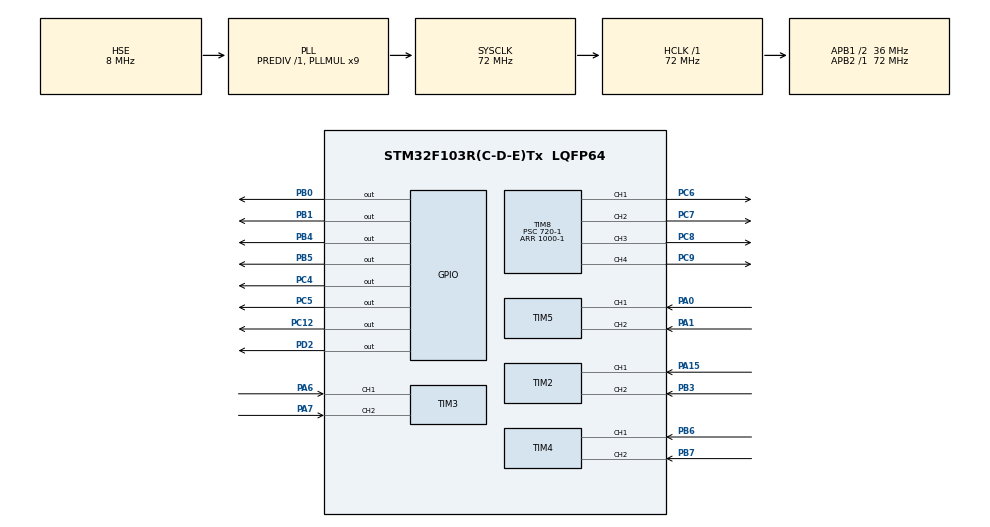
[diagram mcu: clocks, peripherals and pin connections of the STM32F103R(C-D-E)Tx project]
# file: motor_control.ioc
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Mcu.Family=STM32F1
Mcu.Name=STM32F103R(C-D-E)Tx
Mcu.Package=LQFP64
NVIC.PriorityGroup=NVIC_PRIORITYGROUP_4
NVIC.TIM2_IRQn=true\:0\:0\:false\:false\:true\:true\:true\:true
NVIC.TIM3_IRQn=true\:0\:0\:false\:false\:true\:true\:true\:true
NVIC.TIM4_IRQn=true\:0\:0\:false\:false\:true\:true\:true\:true
NVIC.TIM5_IRQn=true\:0\:0\:false\:false\:true\:true\:true\:true
NVIC.TIM6_IRQn=true\:0\:0\:false\:false\:true\:true\:true\:true
PA0-WKUP.Signal=S_TIM5_CH1
PA1.Signal=S_TIM5_CH2
PA13.Mode=Serial_Wire
PA13.Signal=SYS_JTMS-SWDIO
PA14.Mode=Serial_Wire
PA14.Signal=SYS_JTCK-SWCLK
PA15.Signal=S_TIM2_CH1_ETR
PA6.Signal=S_TIM3_CH1
PA7.Signal=S_TIM3_CH2
PB0.Signal=GPIO_Output
PB1.Signal=GPIO_Output
PB3.Signal=S_TIM2_CH2
PB4.Signal=GPIO_Output
PB5.Signal=GPIO_Output
PB6.Signal=S_TIM4_CH1
PB7.Signal=S_TIM4_CH2
PC12.Signal=GPIO_Output
PC4.Signal=GPIO_Output
PC5.Signal=GPIO_Output
PC6.Signal=S_TIM8_CH1
PC7.Signal=S_TIM8_CH2
PC8.Signal=S_TIM8_CH3
PC9.Signal=S_TIM8_CH4
PD0-OSC_IN.Mode=HSE-External-Oscillator
PD0-OSC_IN.Signal=RCC_OSC_IN
PD1-OSC_OUT.Mode=HSE-External-Oscillator
PD1-OSC_OUT.Signal=RCC_OSC_OUT
PD2.Signal=GPIO_Output
ProjectManager.HeapSize=0x200
ProjectManager.StackSize=0x400
ProjectManager.TargetToolchain=STM32CubeIDE
RCC.AHBFreq_Value=72000000
RCC.APB1CLKDivider=RCC_HCLK_DIV2
RCC.APB1Freq_Value=36000000
RCC.APB1TimFreq_Value=72000000
RCC.APB2Freq_Value=72000000
RCC.APB2TimFreq_Value=72000000
RCC.HCLKFreq_Value=72000000
RCC.PLLMUL=RCC_PLL_MUL9
RCC.PLLSourceVirtual=RCC_PLLSOURCE_HSE
RCC.SYSCLKFreq_VALUE=72000000
RCC.SYSCLKSource=RCC_SYSCLKSOURCE_PLLCLK
RCC.USBFreq_Value=72000000
SH.S_TIM2_CH1_ETR.0=TIM2_CH1,Encoder_Interface
SH.S_TIM2_CH2.0=TIM2_CH2,Encoder_Interface
SH.S_TIM3_CH1.0=TIM3_CH1,Encoder_Interface
SH.S_TIM3_CH2.0=TIM3_CH2,Encoder_Interface
SH.S_TIM4_CH1.0=TIM4_CH1,Encoder_Interface
SH.S_TIM4_CH2.0=TIM4_CH2,Encoder_Interface
SH.S_TIM5_CH1.0=TIM5_CH1,Encoder_Interface
SH.S_TIM5_CH2.0=TIM5_CH2,Encoder_Interface
SH.S_TIM8_CH1.0=TIM8_CH1,PWM Generation1 CH1
SH.S_TIM8_CH2.0=TIM8_CH2,PWM Generation2 CH2
SH.S_TIM8_CH3.0=TIM8_CH3,PWM Generation3 CH3
SH.S_TIM8_CH4.0=TIM8_CH4,PWM Generation4 CH4
TIM2.EncoderMode=TIM_ENCODERMODE_TI12
TIM3.EncoderMode=TIM_ENCODERMODE_TI12
TIM4.EncoderMode=TIM_ENCODERMODE_TI12
TIM5.EncoderMode=TIM_ENCODERMODE_TI12
TIM6.Period=500-1
TIM6.Prescaler=720-1
TIM8.Channel-PWM\ Generation1\ CH1=TIM_CHANNEL_1
TIM8.Channel-PWM\ Generation2\ CH2=TIM_CHANNEL_2
TIM8.Channel-PWM\ Generation3\ CH3=TIM_CHANNEL_3
TIM8.Channel-PWM\ Generation4\ CH4=TIM_CHANNEL_4
TIM8.Period=1000-1
TIM8.Prescaler=720-1
VP_TIM6_VS_ClockSourceINT.Mode=Enable_Timer
VP_TIM8_VS_ClockSourceINT.Mode=Internal
board=custom

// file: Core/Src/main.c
/* USER CODE BEGIN Header */
/**
  ******************************************************************************
  * @file           : main.c
  * @brief          : Main program body
  ******************************************************************************
  * @attention
  *
  * Copyright (c) 2023 STMicroelectronics.
  * All rights reserved.
  *
  * This software is licensed under terms that can be found in the LICENSE file
  * in the root directory of this software component.
  * If no LICENSE file comes with this software, it is provided AS-IS.
  *
  ******************************************************************************
  */
/* USER CODE END Header */
#include "main.h"
#include "tim.h"
#include "gpio.h"

/* USER CODE BEGIN Includes */
#include "stdio.h"
#include "stdlib.h"
#include "motor_encoder.h"
#include <math.h>
/* USER CODE END Includes */

/* USER CODE BEGIN PV */
encoder_instance enc_instanceA;
/* USER CODE END PV */

void SystemClock_Config(void);

/* USER CODE BEGIN 0 */

float_t encoder_velocityA;
float_t encoder_positionA;

uint16_t counterA = 0;
uint16_t counterB = 0;
uint16_t counterC = 0;
uint16_t counterD = 0;
uint16_t directionA = 0;
uint16_t directionB = 0;
uint16_t directionC = 0;
uint16_t directionD = 0;

//void HAL_TIM_PeriodElapsedCallback(TIM_HandleTypeDef *htim)
//{
//	counter = __HAL_TIM_GET_COUNTER(&htim4);
//
//	update_encoder(&enc_instance, &htim4);
//	encoder_position = enc_instance.position;
//	encoder_velocity = enc_instance.velocity;
//}

//void HAL_TIM_PeriodElapsedCallback(TIM_HandleTypeDef *htim)
//{
//	if (htim->Instance == TIM6){
//		counterC = __HAL_TIM_GET_COUNTER(&htim4);
//		//countC = (short)counterC;
//		update_encoder(&enc_instance, &htim4);
//		encoder_position = enc_instance.position;
//		encoder_velocity = enc_instance.velocity;
//	}
//}

void HAL_TIM_PeriodElapsedCallback(TIM_HandleTypeDef *htim)
{

	if (htim->Instance == TIM6){

		counterA = __HAL_TIM_GET_COUNTER(&htim2);
		counterB = __HAL_TIM_GET_COUNTER(&htim3);
		counterC = __HAL_TIM_GET_COUNTER(&htim4);
		counterD = __HAL_TIM_GET_COUNTER(&htim5);

		directionA = __HAL_TIM_IS_TIM_COUNTING_DOWN(&htim2);
		directionB = __HAL_TIM_IS_TIM_COUNTING_DOWN(&htim3);
		directionC = __HAL_TIM_IS_TIM_COUNTING_DOWN(&htim4);
		directionD = __HAL_TIM_IS_TIM_COUNTING_DOWN(&htim5);

		update_encoder(&enc_instanceA, &htim2);
		encoder_positionA = enc_instanceA.position;
		encoder_velocityA = enc_instanceA.velocity;
	}
}

//void HAL_TIM_IC_CaptureCallback
//void HAL_TIM_PeriodElapsedCallback
/* USER CODE END 0 */

int main(void)
{

  /* MCU Configuration--------------------------------------------------------*/

  /* Reset of all peripherals, Initializes the Flash interface and the Systick. */
  HAL_Init();

  /* Configure the system clock */
  SystemClock_Config();

  /* Initialize all configured peripherals */
  MX_GPIO_Init();
  MX_TIM2_Init();
  MX_TIM3_Init();
  MX_TIM4_Init();
  MX_TIM5_Init();
  MX_TIM8_Init();
  MX_TIM6_Init();
  /* USER CODE BEGIN 2 */
  HAL_TIM_Encoder_Start_IT(&htim2, TIM_CHANNEL_ALL);
  HAL_TIM_Encoder_Start_IT(&htim3, TIM_CHANNEL_ALL);
  HAL_TIM_Encoder_Start_IT(&htim4, TIM_CHANNEL_ALL);
  HAL_TIM_Encoder_Start_IT(&htim5, TIM_CHANNEL_ALL);

  HAL_TIM_PWM_Start(&htim8, TIM_CHANNEL_1);  // start the pwm md
  HAL_TIM_PWM_Start(&htim8, TIM_CHANNEL_2);  // start the pwm mc
  HAL_TIM_PWM_Start(&htim8, TIM_CHANNEL_3);  // start the pwm mb
  HAL_TIM_PWM_Start(&htim8, TIM_CHANNEL_4);  // start the pwm ma

  HAL_TIM_Base_Start_IT(&htim6);
  //HAL_TIM_PWM_Start(&htim8, TIM_CHANNEL_1);  // start the pwm1
  /* USER CODE END 2 */

  /* Infinite loop */
  /* USER CODE BEGIN WHILE */

  float_t fre[500];
  // uint16_t period[500];
  float_t len = 500.0;
  float_t fre_max = 500.0;
  float_t fre_min = 0.0;
  float_t flexible = 4;

  float_t deno;
  float_t melo;
  float_t delt = fre_max - fre_min;

  float_t timer_freq = 1000000.0;

  while (1)
  {
	  	// MD - 방향
	  	HAL_GPIO_WritePin(GPIOB, GPIO_PIN_0, 1);
	  	HAL_GPIO_WritePin(GPIOB, GPIO_PIN_1, 0);
	  	// MC + 방향
	  	HAL_GPIO_WritePin(GPIOC, GPIO_PIN_5, 0);
	  	HAL_GPIO_WritePin(GPIOC, GPIO_PIN_4, 1);
	  	// MB - 방향
	  	HAL_GPIO_WritePin(GPIOB, GPIO_PIN_4, 1);
	  	HAL_GPIO_WritePin(GPIOB, GPIO_PIN_5, 0);
	  	// MA + 방향
	  	HAL_GPIO_WritePin(GPIOD, GPIO_PIN_2, 0);
	  	HAL_GPIO_WritePin(GPIOC, GPIO_PIN_12, 1);

	  	for(int i=0; i<len; i++)
	  	{
	  		melo = flexible * (i - len/2) / (len/2);
	  		deno = 1.0 / (1+expf(-melo));
	  		fre[i] = delt * deno + fre_min;
	  		// period[i] = (uint16_t)(timer_freq/fre[i]);

//	  		__HAL_TIM_SET_COMPARE(&htim8, TIM_CHANNEL_1, (int)fre[i]);
//	  		__HAL_TIM_SET_COMPARE(&htim8, TIM_CHANNEL_2, (int)fre[i]);
//	  		__HAL_TIM_SET_COMPARE(&htim8, TIM_CHANNEL_3, (int)fre[i]);
	  		__HAL_TIM_SET_COMPARE(&htim8, TIM_CHANNEL_4, (int)fre[i]);
	  		HAL_Delay(1);
	  	}

	  	HAL_Delay(1000-1);

	  	for(int i=len-1; i>=0; i--)
	  	{
//	  		__HAL_TIM_SET_COMPARE(&htim8, TIM_CHANNEL_1, (int)fre[i]);
//	  		__HAL_TIM_SET_COMPARE(&htim8, TIM_CHANNEL_2, (int)fre[i]);
//	  		__HAL_TIM_SET_COMPARE(&htim8, TIM_CHANNEL_3, (int)fre[i]);
	  		__HAL_TIM_SET_COMPARE(&htim8, TIM_CHANNEL_4, (int)fre[i]);
	  		HAL_Delay(1);
	  	}

	  	HAL_Delay(1000-1);

//		__HAL_TIM_SET_COMPARE(&htim8, TIM_CHANNEL_4, 200);
    /* USER CODE END WHILE */

  }
}

void SystemClock_Config(void)
{
  RCC_OscInitTypeDef RCC_OscInitStruct = {0};
  RCC_ClkInitTypeDef RCC_ClkInitStruct = {0};

  /** Initializes the RCC Oscillators according to the specified parameters
  * in the RCC_OscInitTypeDef structure.
  */
  RCC_OscInitStruct.OscillatorType = RCC_OSCILLATORTYPE_HSE;
  RCC_OscInitStruct.HSEState = RCC_HSE_ON;
  RCC_OscInitStruct.HSEPredivValue = RCC_HSE_PREDIV_DIV1;
  RCC_OscInitStruct.HSIState = RCC_HSI_ON;
  RCC_OscInitStruct.PLL.PLLState = RCC_PLL_ON;
  RCC_OscInitStruct.PLL.PLLSource = RCC_PLLSOURCE_HSE;
  RCC_OscInitStruct.PLL.PLLMUL = RCC_PLL_MUL9;
  if (HAL_RCC_OscConfig(&RCC_OscInitStruct) != HAL_OK)
  {
    Error_Handler();
  }

  /** Initializes the CPU, AHB and APB buses clocks
  */
  RCC_ClkInitStruct.ClockType = RCC_CLOCKTYPE_HCLK|RCC_CLOCKTYPE_SYSCLK
                              |RCC_CLOCKTYPE_PCLK1|RCC_CLOCKTYPE_PCLK2;
  RCC_ClkInitStruct.SYSCLKSource = RCC_SYSCLKSOURCE_PLLCLK;
  RCC_ClkInitStruct.AHBCLKDivider = RCC_SYSCLK_DIV1;
  RCC_ClkInitStruct.APB1CLKDivider = RCC_HCLK_DIV2;
  RCC_ClkInitStruct.APB2CLKDivider = RCC_HCLK_DIV1;

  if (HAL_RCC_ClockConfig(&RCC_ClkInitStruct, FLASH_LATENCY_2) != HAL_OK)
  {
    Error_Handler();
  }
}

void Error_Handler(void)
{
  __disable_irq();
  while (1)
  {
  }
}
